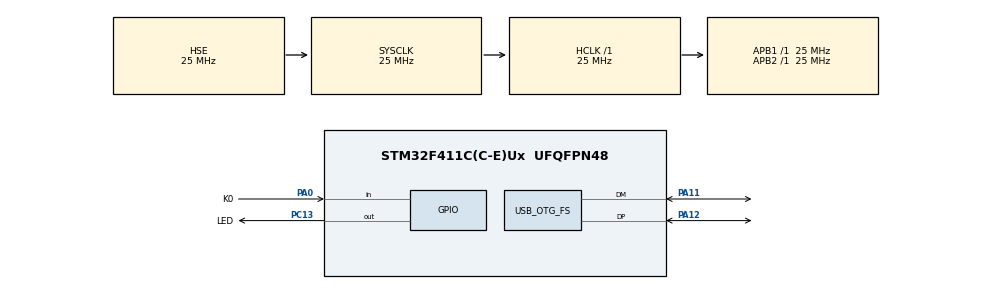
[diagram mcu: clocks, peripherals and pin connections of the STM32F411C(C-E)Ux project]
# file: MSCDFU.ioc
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FATFS._CODE_PAGE=1
FATFS._FS_NORTC=1
FATFS._USE_LABEL=1
Mcu.Family=STM32F4
Mcu.Name=STM32F411C(C-E)Ux
Mcu.Package=UFQFPN48
Mcu.UserConstants=ADDRESS_APP,0x08010000;ADDRESS_CMD,0x0800D2E0;ADDRESS_IDENTIFY,0x0800D2F0;ADDRESS_RAMDISK,SRAM1_BASE+0x2000;BLOCK_SIZE,0x200;CMD_GOTOAPP,0x00000000;CMD_UPGRADE,0xFFFFFFFF;DISK_NAME,"MSCDFU";DISK_SIZE,0x1E000;FILENAME_APP,"FIRMWAR.BIN";FILENAME_CONFIG,"CONFIG.TXT";MSCDFU_DATE,20241009;MSCDFU_VERSION,2
NVIC.OTG_FS_IRQn=true\:0\:0\:false\:false\:true\:false\:true\:true
NVIC.PriorityGroup=NVIC_PRIORITYGROUP_4
PA0-WKUP.GPIO_Label=K0
PA0-WKUP.GPIO_PuPd=GPIO_PULLUP
PA0-WKUP.Signal=GPIO_Input
PA11.Mode=Device_Only
PA11.Signal=USB_OTG_FS_DM
PA12.Mode=Device_Only
PA12.Signal=USB_OTG_FS_DP
PA13.Mode=Serial_Wire
PA13.Signal=SYS_JTMS-SWDIO
PA14.Mode=Serial_Wire
PA14.Signal=SYS_JTCK-SWCLK
PA4.Signal=SPI1_NSS
PA5.Signal=SPI1_SCK
PA7.Signal=SPI1_MOSI
PB4.Signal=SPI1_MISO
PC13-ANTI_TAMP.GPIO_Label=LED
PC13-ANTI_TAMP.Signal=GPIO_Output
PH0\ -\ OSC_IN.Mode=HSE-External-Oscillator
PH0\ -\ OSC_IN.Signal=RCC_OSC_IN
PH1\ -\ OSC_OUT.Mode=HSE-External-Oscillator
PH1\ -\ OSC_OUT.Signal=RCC_OSC_OUT
ProjectManager.HeapSize=0x200
ProjectManager.StackSize=0x400
ProjectManager.TargetToolchain=STM32CubeIDE
RCC.48MHZClocksFreq_Value=48000000
RCC.AHBFreq_Value=25000000
RCC.APB1Freq_Value=25000000
RCC.APB1TimFreq_Value=25000000
RCC.APB2Freq_Value=25000000
RCC.APB2TimFreq_Value=25000000
RCC.CortexFreq_Value=25000000
RCC.EnbaleCSS=true
RCC.HCLKFreq_Value=25000000
RCC.HSE_VALUE=25000000
RCC.HSI_VALUE=16000000
RCC.LSE_VALUE=32768
RCC.PLLM=15
RCC.PLLN=144
RCC.PLLQ=5
RCC.PWR_Regulator_Voltage_Scale=PWR_REGULATOR_VOLTAGE_SCALE3
RCC.RCC_RTC_Clock_Source=RCC_RTCCLKSOURCE_LSE
RCC.RCC_RTC_Clock_SourceVirtual=RCC_RTCCLKSOURCE_LSE
RCC.SYSCLKFreq_VALUE=25000000
RCC.SYSCLKSource=RCC_SYSCLKSOURCE_HSE
RCC.VCOOutputFreq_Value=240000000
USB_DEVICE.CLASS_NAME_FS=MSC
USB_DEVICE.MANUFACTURER_STRING=River
USB_DEVICE.PRODUCT_STRING_MSC_FS=Mass Storage Class DFU
USB_DEVICE.USBD_SELF_POWERED=0
USB_DEVICE.VirtualMode=Msc
USB_DEVICE.VirtualModeFS=Msc_FS
USB_OTG_FS.VirtualMode=Device_Only
VP_FATFS_VS_Generic.Mode=User_defined
VP_USB_DEVICE_VS_USB_DEVICE_MSC_FS.Mode=MSC_FS
board=custom

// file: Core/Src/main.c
/* USER CODE BEGIN Header */
/**
  ******************************************************************************
  * @file           : main.c
  * @brief          : Main program body
  ******************************************************************************
  * @attention
  *
  * Copyright (c) 2024 STMicroelectronics.
  * All rights reserved.
  *
  * This software is licensed under terms that can be found in the LICENSE file
  * in the root directory of this software component.
  * If no LICENSE file comes with this software, it is provided AS-IS.
  *
  ******************************************************************************
  */

/**
  ******************************************************************************
  * Internal Flash Section Description                                         *
  ******************************************************************************
  *  0x08000000-0x0800BFFF  *  Bank 1 Section 0-2  *  MSCDFU                   *
  *  0x0800C000-0x0800FFFF  *  Bank 1 Section 3    *  DFU cmd for next bootup  *
  *  0x08010000-0x0807FFFF  *  Bank 1 Section 4-   *  Application              *
  ******************************************************************************
  */
/* USER CODE END Header */
#include "main.h"
#include "fatfs.h"
#include "usb_device.h"
#include "gpio.h"

/* USER CODE BEGIN PD */

typedef void (*pFunction)(void);

/* USER CODE END PD */

void SystemClock_Config(void);

/* USER CODE BEGIN 0 */

int Check_License(uint32_t address){
  int ret;
  // return 1 if target address was not set yet
  if((*(uint32_t*)(address  )==0xFFFFFFFF)||\
     (*(uint32_t*)(address+4)==0xFFFFFFFF)||\
	 (*(uint32_t*)(address+8)==0xFFFFFFFF)){
	ret=1;
  }
  // return 2 if target address set but not equals to identify code
  else if((*(uint32_t*)(UID_BASE  ))!=~(*(uint32_t*)(address  ))||\
		  (*(uint32_t*)(UID_BASE+4))!=~(*(uint32_t*)(address+4 ))||\
		  (*(uint32_t*)(UID_BASE+8))!=~(*(uint32_t*)(address+8))){
	ret=2;
  }
  else{
	ret=0;
  }
  return(ret);
}

void GotoApplication(uint32_t address){
  // check license before start application
  if(!Check_License(ADDRESS_IDENTIFY)){
    // goto application
    if((*(volatile uint32_t*)ADDRESS_CMD)==CMD_GOTOAPP){
      pFunction JumpToApplication=(pFunction)*(volatile uint32_t*)(address+4);

      SysTick->CTRL=0;
      SysTick->LOAD=0;
      SysTick->VAL=0;

      __set_MSP(*(volatile uint32_t*)address);
      SCB->VTOR=address;
      JumpToApplication();
      while(1){}
    }
  }
}

/* USER CODE END 0 */

int main(void)
{

  /* USER CODE BEGIN 1 */

  GotoApplication(ADDRESS_APP);

  /* USER CODE END 1 */

  /* MCU Configuration--------------------------------------------------------*/

  /* Reset of all peripherals, Initializes the Flash interface and the Systick. */
  HAL_Init();

  /* Configure the system clock */
  SystemClock_Config();

  /* Initialize all configured peripherals */
  MX_GPIO_Init();
  MX_FATFS_Init();
  MX_USB_DEVICE_Init();

  /* Infinite loop */
  /* USER CODE BEGIN WHILE */
  while (1)
  {
    MX_FATFS_Process();
    /* USER CODE END WHILE */

  }
}

void SystemClock_Config(void)
{
  RCC_OscInitTypeDef RCC_OscInitStruct = {0};
  RCC_ClkInitTypeDef RCC_ClkInitStruct = {0};

  /** Configure the main internal regulator output voltage
  */
  __HAL_RCC_PWR_CLK_ENABLE();
  __HAL_PWR_VOLTAGESCALING_CONFIG(PWR_REGULATOR_VOLTAGE_SCALE3);

  /** Initializes the RCC Oscillators according to the specified parameters
  * in the RCC_OscInitTypeDef structure.
  */
  RCC_OscInitStruct.OscillatorType = RCC_OSCILLATORTYPE_HSE;
  RCC_OscInitStruct.HSEState = RCC_HSE_ON;
  RCC_OscInitStruct.PLL.PLLState = RCC_PLL_ON;
  RCC_OscInitStruct.PLL.PLLSource = RCC_PLLSOURCE_HSE;
  RCC_OscInitStruct.PLL.PLLM = 15;
  RCC_OscInitStruct.PLL.PLLN = 144;
  RCC_OscInitStruct.PLL.PLLP = RCC_PLLP_DIV2;
  RCC_OscInitStruct.PLL.PLLQ = 5;
  if (HAL_RCC_OscConfig(&RCC_OscInitStruct) != HAL_OK)
  {
    Error_Handler();
  }

  /** Initializes the CPU, AHB and APB buses clocks
  */
  RCC_ClkInitStruct.ClockType = RCC_CLOCKTYPE_HCLK|RCC_CLOCKTYPE_SYSCLK
                              |RCC_CLOCKTYPE_PCLK1|RCC_CLOCKTYPE_PCLK2;
  RCC_ClkInitStruct.SYSCLKSource = RCC_SYSCLKSOURCE_HSE;
  RCC_ClkInitStruct.AHBCLKDivider = RCC_SYSCLK_DIV1;
  RCC_ClkInitStruct.APB1CLKDivider = RCC_HCLK_DIV1;
  RCC_ClkInitStruct.APB2CLKDivider = RCC_HCLK_DIV1;

  if (HAL_RCC_ClockConfig(&RCC_ClkInitStruct, FLASH_LATENCY_0) != HAL_OK)
  {
    Error_Handler();
  }

  /** Enables the Clock Security System
  */
  HAL_RCC_EnableCSS();
}

void Error_Handler(void)
{
  __disable_irq();
  while (1)
  {
  }
}
